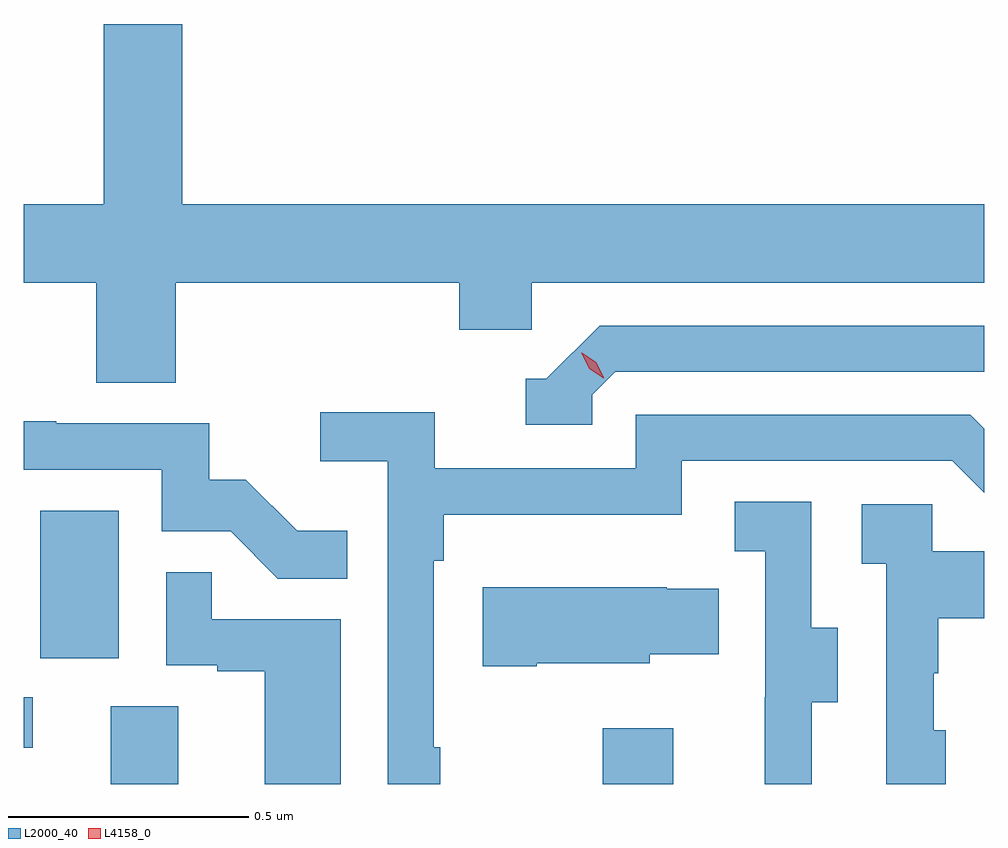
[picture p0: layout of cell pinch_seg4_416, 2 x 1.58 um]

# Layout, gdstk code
import gdstk
lib = gdstk.Library(unit=1e-6, precision=1e-09)
def R(c, l, rs):  # rectangles x0, y0, x1, y1
    for r in rs: c.add(gdstk.rectangle(r[:2], r[2:], *l))
def P(c, l, *ps):  # polygons
    for p in ps: c.add(gdstk.Polygon(p, *l))
L2000_40 = (2000, 40)
L4158_0 = (4158, 0)

pinch_seg4_416 = lib.new_cell('pinch_seg4_416')
R(pinch_seg4_416, L2000_40, [(956.231,774.464,956.371,774.626), (957.256,774.464,957.403,774.58), (956.05,774.54,956.068,774.645), (956.084,774.726,956.248,775.033)])
P(pinch_seg4_416, L2000_40, [(956.366,775.508),(956.957,775.508),(956.957,775.41),(957.108,775.41),(957.108,775.508),(958.05,775.508),(958.05,775.672),(956.38,775.672),(956.38,776.047),(956.216,776.047),(956.216,775.672),(956.05,775.672),(956.05,775.508),(956.201,775.508),(956.201,775.3),(956.366,775.3)],
  [(957.234,775.275),(957.282,775.323),(958.05,775.323),(958.05,775.419),(957.249,775.419),(957.138,775.308),(957.095,775.308),(957.095,775.212),(957.234,775.212)],
  [(956.917,774.541),(956.904,774.541),(956.904,774.929),(956.924,774.929),(956.924,775.025),(957.42,775.025),(957.42,775.137),(957.984,775.137),(958.05,775.071),(958.05,775.204),(958.021,775.233),(957.324,775.233),(957.324,775.122),(956.906,775.122),(956.906,775.238),(956.667,775.238),(956.667,775.136),(956.808,775.136),(956.808,774.464),(956.917,774.464)],
  [(956.723,774.991),(956.619,774.991),(956.512,775.098),(956.436,775.098),(956.436,775.215),(956.117,775.215),(956.117,775.22),(956.05,775.22),(956.05,775.119),(956.337,775.119),(956.337,774.99),(956.481,774.99),(956.579,774.892),(956.723,774.892)],
  [(957.691,774.634),(957.745,774.634),(957.745,774.789),(957.69,774.789),(957.69,775.052),(957.531,775.052),(957.531,774.949),(957.594,774.949),(957.594,774.645),(957.593,774.645),(957.593,774.464),(957.691,774.464)],
  [(957.97,774.576),(957.945,774.576),(957.945,774.695),(957.955,774.695),(957.955,774.809),(958.05,774.809),(958.05,774.949),(957.942,774.949),(957.942,775.047),(957.795,775.047),(957.795,774.923),(957.846,774.923),(957.846,774.464),(957.97,774.464)],
  [(956.71,774.807),(956.441,774.807),(956.441,774.905),(956.346,774.905),(956.346,774.711),(956.453,774.711),(956.453,774.699),(956.552,774.699),(956.552,774.464),(956.71,774.464)],
  [(957.118,774.716),(957.354,774.716),(957.354,774.734),(957.497,774.734),(957.497,774.871),(957.389,774.871),(957.389,774.874),(957.006,774.874),(957.006,774.709),(957.118,774.709)])
P(pinch_seg4_416, L4158_0, [(957.258,775.309),(957.228,775.329),(957.211,775.362),(957.211,775.362),(957.212,775.362),(957.242,775.342),(957.258,775.31),(957.258,775.309)])

lib.write_gds('pinch_seg4_416.gds')
